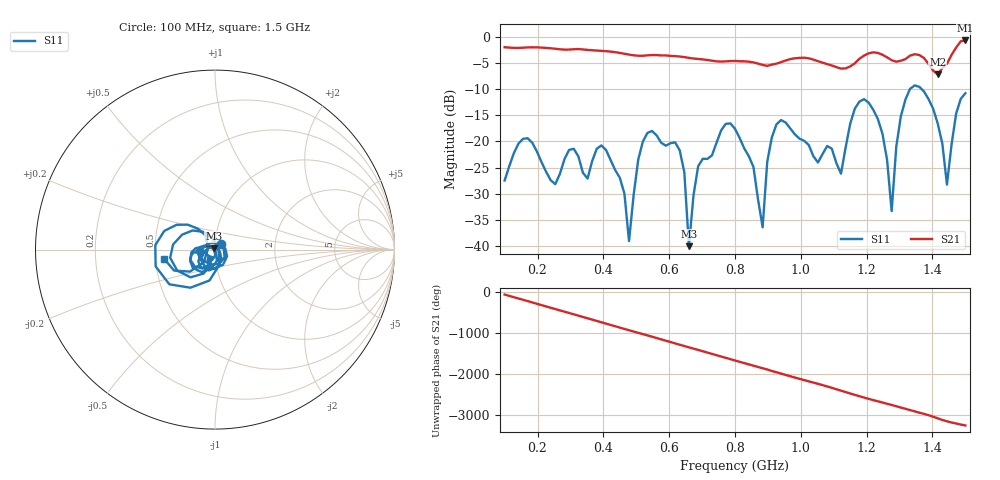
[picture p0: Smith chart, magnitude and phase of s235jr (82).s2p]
! NanoVNA-App
! Date: 2025-09-25 15:04:48
! Start: 100MHz Stop: 1,5GHz Points: 101
! S-Parameter data: F S11 S21 S12 S22
# Hz S RI R 50
!  Frequency  S11_Real  S11_Imag  S21_Real  S21_Imag  S12_Real  S12_Imag  S22_Real  S22_Imag
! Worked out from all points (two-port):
!   101 points, 100 MHz to 1.5 GHz, reference 50 ohm
!   highest |S21| = -0.67 dB at 1.5 GHz (marker M1); lowest = -7.2 dB at 1.416 GHz (marker M2)
!   |S21| within 3 dB of the highest: start of sweep to 619 MHz; 1.19 GHz to 1.255 GHz (65.69 MHz wide, 5.37 % of centre) (the widest 2 of 4)
!   lowest |S11| = -40.0 dB at 660 MHz (marker M3), VSWR 1.02, Z = 49.3 + j0.647 ohm
!   |S11| at or under -10 dB: start of sweep to 1.331 GHz; 1.367 GHz to end of sweep
!   S12 and S22 are empty: the file has one direction only
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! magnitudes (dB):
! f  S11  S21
! 100 MHz  -27.5  -2.0
! 170 MHz  -19.4  -2.0
! 338 MHz  -26.0  -2.4
! 408 MHz  -21.6  -2.7
! 478 MHz  -39.1  -3.4
! 520 MHz  -20.0  -3.6
! 576 MHz  -20.3  -3.5
! 632 MHz  -21.7  -3.7
! 660 MHz  -40.0  -4.0
! 688 MHz  -24.8  -4.2
! 800 MHz  -17.6  -4.6
! 884 MHz  -36.4  -5.4
! 926 MHz  -16.7  -5.1
! 1.038 GHz  -22.8  -4.3
! 1.122 GHz  -26.2  -6.1
! 1.192 GHz  -11.9  -3.6
! 1.248 GHz  -18.5  -3.4
! 1.276 GHz  -33.3  -4.5
! 1.332 GHz  -9.9  -3.6
! 1.416 GHz  -16.6  -7.2
! 1.444 GHz  -28.3  -5.1
! 1.5 GHz  -10.8  -0.7
